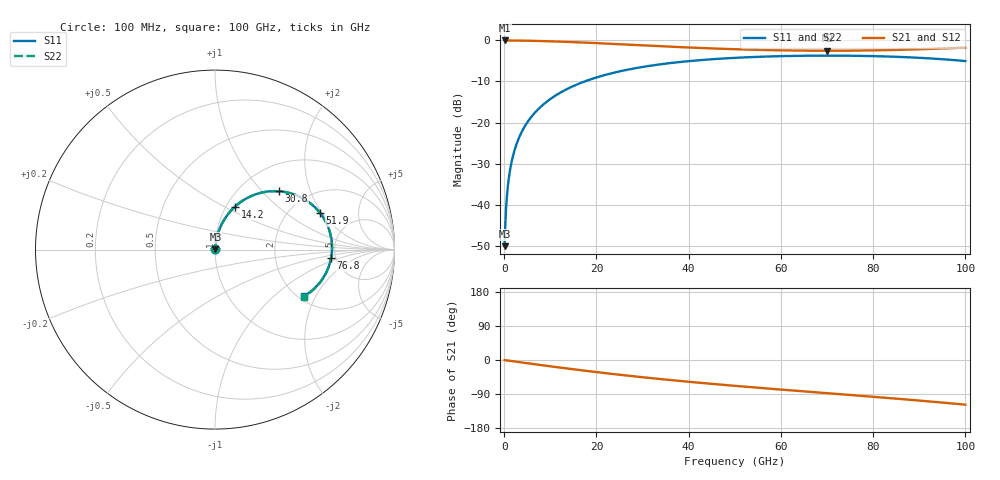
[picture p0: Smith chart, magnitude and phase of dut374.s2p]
! Touchstone file exported from HFSS 2026.1.0
!  File:  C:/ffzhzh/LocalFiles/Ansys_Project_Files/temp_train_RDL_374_1783503609_41296.aedt
!  Generated:  05:41:36 PM Jul  8, 2026
!  Design:  RDL
!  Project:  temp_train_RDL_374_1783503609_41296
! Variables:
!  h_bsmrdl = 2um
!  h_ox = 20um
!  h_rdl = 5um
!  h_sub = 80um
!  h_tmrdl = 4.42um
!  h_tsv = 80um
!  h_via = 3um
!  l_bsmrdl = 300um
!  l_sub = 808.79um
!  l_tmrdl = 408.79um
!  m_sub = 200um
!  pitch = 49.6um
!  r_tsv = 6um
!  s_tmrdl = 10um
!  w_bsmrdl = 18um
!  w_sub = 500um
!  w_tmrdl = 15.11um
!  x_tsv_center1 = 416.345um
!  x_tsv_center2 = 734.345um
!  x_tsv_center3 = 1158.245um
!  x_tsv_center4 = 1476.245um
!  x_tsv_center5 = 1900.145um
!  x_tsv_center6 = 2218.145um
# GHz S MA R 50.000000
! Terminal data exported
! Port[1] = TM_RDL1_1_T1
! Port[2] = TM_RDL1_1_T2
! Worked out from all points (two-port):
!   1000 points, 100 MHz to 100 GHz, reference 50 ohm
!   highest |S21| = -0.02 dB at 100 MHz (marker M1); lowest = -2.5 dB at 70.1 GHz (marker M2)
!   |S21| within 3 dB of the highest: start of sweep to end of sweep
!   lowest |S11| = -50.1 dB at 100 MHz (marker M3), VSWR 1.01, Z = 50.2 + j0.214 ohm
!   |S11| at or under -10 dB: start of sweep to 17.46 GHz
!   |S22| runs from -50.1 to -3.7 dB; largest |S21 - S12| = 1.4e-14
!   S11 on the Smith chart (normalised r, x): 100 MHz: 1.00, +0.00; 14.2 GHz: 1.10, +0.57; 30.8 GHz: 1.48, +1.25; 51.9 GHz: 2.89, +1.91; 76.8 GHz: 4.55, -0.76; 100 GHz: 2.14, -1.61
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0.1  0.003121 43.1  0.9977 -0.2  0.9977 -0.2  0.003121 43.1
! Gamma 0 0 0 0
! Port Impedance 50 0 50 0
0.4  0.008711 72.9  0.9975 -0.7  0.9975 -0.7  0.008712 72.9
0.8  0.01669 79.5  0.9972 -1.4  0.9972 -1.4  0.01669 79.5
1.3  0.02675 81.7  0.9968 -2.2  0.9968 -2.2  0.02675 81.7
1.7  0.0348 82.2  0.9965 -2.9  0.9965 -2.9  0.0348 82.2
2.2  0.04484 82.2  0.9959 -3.8  0.9959 -3.8  0.04484 82.2
3.5  0.07073 81.0  0.9937 -6.0  0.9937 -6.0  0.07073 81.0
5.3  0.1058 78.4  0.9897 -9.0  0.9897 -9.0  0.1058 78.4
7.6  0.1493 75.0  0.9829 -12.8  0.9829 -12.8  0.1493 74.9
10.6  0.2035 70.4  0.972 -17.6  0.972 -17.6  0.2035 70.4
14.2  0.2648 65.0  0.9563 -23.3  0.9563 -23.3  0.2648 65.0
16.8  0.3061 61.2  0.9434 -27.2  0.9434 -27.2  0.3061 61.2
23.1  0.3952 52.3  0.909 -36.3  0.909 -36.3  0.3952 52.3
30.8  0.4826 42.4  0.8657 -46.5  0.8657 -46.5  0.4826 42.3
33.4  0.5071 39.2  0.8517 -49.7  0.8517 -49.7  0.5071 39.1
50.1  0.6132 21.0  0.7799 -68.3  0.7799 -68.3  0.6132 20.8
51.9  0.6201 19.2  0.7745 -70.1  0.7745 -70.1  0.6202 19.0
66.7  0.6513 5.1  0.7493 -84.4  0.7493 -84.4  0.6513 4.9
70.1  0.6524 1.9  0.7484 -87.6  0.7484 -87.6  0.6524 1.7
76.8  0.6482 -4.3  0.7518 -94.0  0.7518 -94.0  0.6483 -4.6
83.4  0.6355 -10.6  0.7621 -100.4  0.7621 -100.4  0.6356 -10.9
100  0.5597 -27.6  0.817 -117.9  0.817 -117.9  0.5598 -28.0
